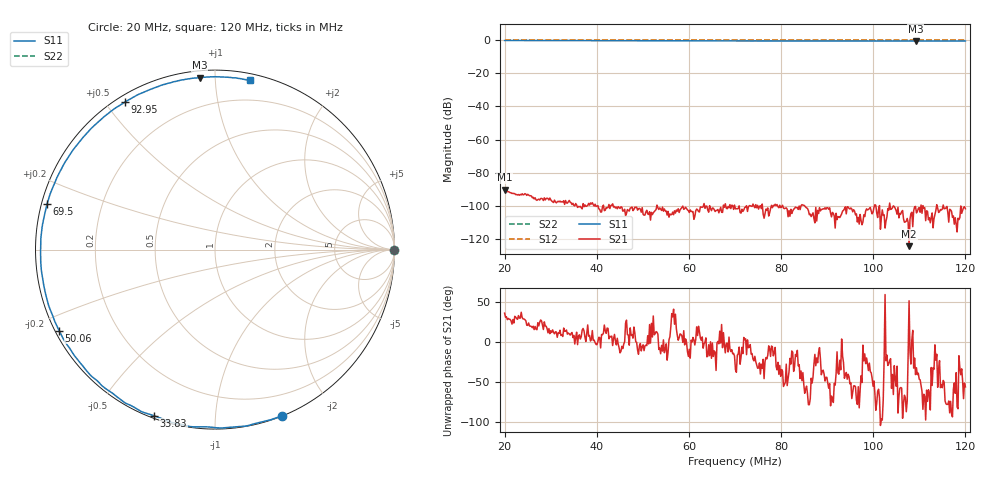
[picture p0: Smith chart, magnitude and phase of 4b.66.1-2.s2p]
! Anritsu VNA Master:  Model: MS2036C/10/77
! SN:  1601066
! /bd0/18may26.balun/4b.66.s2p
! Existing Calibration Information:
! TYPE:  Current Settings,  Active Cal Settings
! TIME:  05/26/2018 04:37:51 PM,  05/26/2018 04:28:16 PM
! INTERNAL TEMP:  55.8 C,  56.3 C
! # POINTS:  500,  500
! START FREQ:  20.000 MHz,  20.000 MHz
! STOP FREQ:  120.000 MHz,  120.000 MHz
! SOURCE POWER:  High,  High
! IFBW:  50 Hz,  50 Hz
! AVG FACTOR:  1 ,  1
! REF PLANE 1:  0 mm,  0 mm
! REF PLANE 2:  0 mm,  0 mm
! CAL TYPE:  Full S11,  Full S11
! CAL METHOD:  SOLT,  SOLT
! CAL LINE TYPE:  Coax,  Coax
! DUT PORT 1:  K-Conn(M),  K-Conn(M)
! DUT PORT 2:  K-Conn(M),  K-Conn(M)
! CAL STATUS:  OK: Accuracy High,  --
# GHZ S DB R 50.0
! FREQ.GHZ  S11DB  S11A  S21DB  S21A  S12DB  S12A  S22DB  S22A
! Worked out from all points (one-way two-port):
!   500 points, 20 MHz to 120 MHz, reference 50 ohm
!   highest |S21| = -90.40 dB at 20 MHz (marker M1); lowest = -124.6 dB at 107.8 MHz (marker M2)
!   lowest |S11| = -0.3 dB at 109.2 MHz (marker M3), VSWR 51.21, Z = 1.8 + j45.8 ohm
!   |S11| at or under -10 dB: nowhere
!   |S22| runs from 0.0 to 0.0 dB; largest |S21 - S12| = 1
!   S11 on the Smith chart (normalised r, x): 20 MHz: 0.00, -1.48; 33.83 MHz: 0.01, -0.70; 50.06 MHz: 0.01, -0.24; 69.5 MHz: 0.02, +0.13; 92.95 MHz: 0.02, +0.56; 120 MHz: 0.05, +1.22
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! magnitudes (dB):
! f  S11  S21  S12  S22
! 20 MHz  0.0  -90.4  0.0  0.0
! 22.4 MHz  0.0  -93.4  0.0  0.0
! 23.81 MHz  0.0  -92.8  0.0  0.0
! 27.82 MHz  -0.1  -95.8  0.0  0.0
! 29.62 MHz  0.0  -96.7  0.0  0.0
! 33.83 MHz  -0.1  -97.7  0.0  0.0
! 35.23 MHz  -0.1  -100.2  0.0  0.0
! 36.83 MHz  -0.1  -102.0  0.0  0.0
! 37.64 MHz  -0.1  -100.5  0.0  0.0
! 39.44 MHz  -0.1  -100.3  0.0  0.0
! 43.05 MHz  -0.1  -99.9  0.0  0.0
! 47.05 MHz  -0.2  -103.3  0.0  0.0
! 50.06 MHz  -0.2  -105.3  0.0  0.0
! 53.47 MHz  -0.2  -102.4  0.0  0.0
! 69.5 MHz  -0.3  -100.0  0.0  0.0
! 70.1 MHz  -0.3  -102.0  0.0  0.0
! 86.73 MHz  -0.3  -105.5  0.0  0.0
! 92.95 MHz  -0.3  -106.1  0.0  0.0
! 103.4 MHz  -0.3  -102.8  0.0  0.0
! 107.8 MHz  -0.3  -124.6  0.0  0.0
! 109.2 MHz  -0.3  -100.6  0.0  0.0
! 120 MHz  -0.3  -101.9  0.0  0.0
